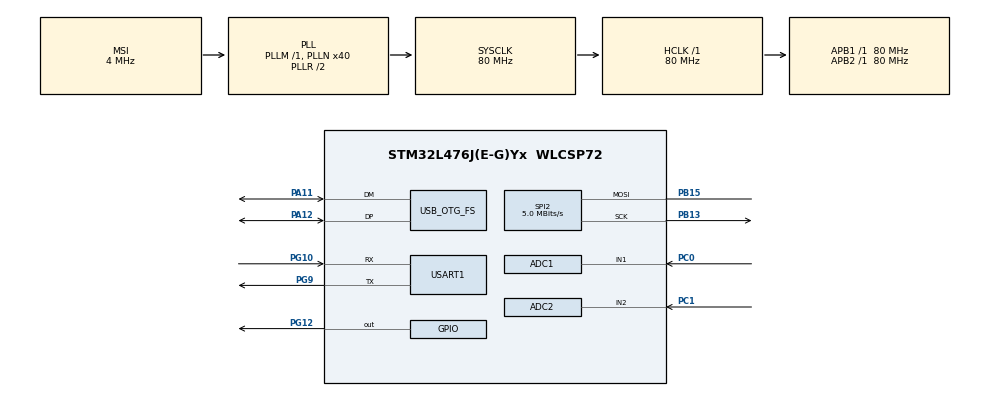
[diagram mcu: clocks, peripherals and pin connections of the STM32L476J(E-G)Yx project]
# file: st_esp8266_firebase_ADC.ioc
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ADC1.Channel-1\#ChannelRegularConversion=ADC_CHANNEL_1
ADC1.NbrOfConversionFlag=1
ADC1.OffsetNumber-1\#ChannelRegularConversion=ADC_OFFSET_NONE
ADC1.Rank-1\#ChannelRegularConversion=1
ADC1.SamplingTime-1\#ChannelRegularConversion=ADC_SAMPLETIME_2CYCLES_5
ADC1.master=1
ADC2.Channel-0\#ChannelRegularConversion=ADC_CHANNEL_2
ADC2.ContinuousConvMode=ENABLE
ADC2.DMAContinuousRequests=ENABLE
ADC2.EOCSelection=ADC_EOC_SEQ_CONV
ADC2.NbrOfConversionFlag=1
ADC2.OffsetNumber-0\#ChannelRegularConversion=ADC_OFFSET_NONE
ADC2.Rank-0\#ChannelRegularConversion=1
ADC2.SamplingTime-0\#ChannelRegularConversion=ADC_SAMPLETIME_2CYCLES_5
Dma.ADC2.0.Direction=DMA_PERIPH_TO_MEMORY
Dma.ADC2.0.Instance=DMA1_Channel2
Dma.ADC2.0.MemDataAlignment=DMA_MDATAALIGN_HALFWORD
Dma.ADC2.0.MemInc=DMA_MINC_ENABLE
Dma.ADC2.0.Mode=DMA_CIRCULAR
Dma.ADC2.0.PeriphDataAlignment=DMA_PDATAALIGN_HALFWORD
Dma.ADC2.0.PeriphInc=DMA_PINC_DISABLE
Dma.ADC2.0.Priority=DMA_PRIORITY_LOW
Dma.Request0=ADC2
Mcu.Family=STM32L4
Mcu.Name=STM32L476J(E-G)Yx
Mcu.Package=WLCSP72
NVIC.DMA1_Channel2_IRQn=true\:0\:0\:false\:false\:true\:false\:true
NVIC.OTG_FS_IRQn=true\:0\:0\:false\:false\:true\:false\:true
NVIC.PriorityGroup=NVIC_PRIORITYGROUP_4
NVIC.USART1_IRQn=true\:0\:0\:false\:false\:true\:true\:true
PA11.Mode=Device_Only
PA11.Signal=USB_OTG_FS_DM
PA12.Mode=Device_Only
PA12.Signal=USB_OTG_FS_DP
PB13.Mode=Simplex_Bidirectional_Master
PB13.Signal=SPI2_SCK
PB15.Mode=Simplex_Bidirectional_Master
PB15.Signal=SPI2_MOSI
PC0.Signal=ADCx_IN1
PC1.Signal=ADCx_IN2
PG10.Mode=Asynchronous
PG10.Signal=USART1_RX
PG12.Signal=GPIO_Output
PG9.Mode=Asynchronous
PG9.Signal=USART1_TX
PH0-OSC_IN\ (PH0).Mode=HSE-External-Oscillator
PH0-OSC_IN\ (PH0).Signal=RCC_OSC_IN
PH1-OSC_OUT\ (PH1).Mode=HSE-External-Oscillator
PH1-OSC_OUT\ (PH1).Signal=RCC_OSC_OUT
ProjectManager.HeapSize=0x200
ProjectManager.StackSize=0x400
ProjectManager.TargetToolchain=SW4STM32
RCC.ADCFreq_Value=48000000
RCC.AHBFreq_Value=80000000
RCC.APB1Freq_Value=80000000
RCC.APB1TimFreq_Value=80000000
RCC.APB2Freq_Value=80000000
RCC.APB2TimFreq_Value=80000000
RCC.CortexFreq_Value=80000000
RCC.HCLKFreq_Value=80000000
RCC.HSE_VALUE=8000000
RCC.HSI_VALUE=16000000
RCC.LSE_VALUE=32768
RCC.MSI_VALUE=4000000
RCC.PLLN=40
RCC.PLLSAI1N=24
RCC.SYSCLKFreq_VALUE=80000000
RCC.SYSCLKSource=RCC_SYSCLKSOURCE_PLLCLK
RCC.USBFreq_Value=48000000
RCC.VCOOutputFreq_Value=160000000
SH.ADCx_IN1.0=ADC1_IN1,IN1-Single-Ended
SH.ADCx_IN2.0=ADC2_IN2,IN2-Single-Ended
SPI2.BaudRatePrescaler=SPI_BAUDRATEPRESCALER_16
SPI2.CLKPhase=SPI_PHASE_2EDGE
SPI2.CLKPolarity=SPI_POLARITY_HIGH
SPI2.CalculateBaudRate=5.0 MBits/s
SPI2.DataSize=SPI_DATASIZE_8BIT
SPI2.Direction=SPI_DIRECTION_1LINE
SPI2.Mode=SPI_MODE_MASTER
SPI2.VirtualType=VM_MASTER
USART1.VirtualMode-Asynchronous=VM_ASYNC
USB_DEVICE.CLASS_NAME_FS=CDC
USB_DEVICE.VirtualMode=Cdc
USB_DEVICE.VirtualModeFS=Cdc_FS
USB_OTG_FS.VirtualMode=Device_Only
VP_USB_DEVICE_VS_USB_DEVICE_CDC_FS.Mode=CDC_FS
board=custom

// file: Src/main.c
/* USER CODE BEGIN Header */
/**
 ******************************************************************************
 * @file           : main.c
 * @brief          : Main program body
 ******************************************************************************
 * @attention
 *
 * <h2><center>&copy; Copyright (c) 2020 STMicroelectronics.
 * All rights reserved.</center></h2>
 *
 * This software component is licensed by ST under BSD 3-Clause license,
 * the "License"; You may not use this file except in compliance with the
 * License. You may obtain a copy of the License at:
 *                        opensource.org/licenses/BSD-3-Clause
 *
 ******************************************************************************
 */
/* USER CODE END Header */

#include "main.h"
#include "usb_device.h"

/* USER CODE BEGIN Includes */
#include "ESPDataLogger.h"
#include "usbd_cdc_if.h"
#include "LSM6DSM_ACC_GYRO_driver_HL.h"
#include "LSM6DSM_ACC_GYRO_driver.h"
#include "LSM303AGR_MAG_driver_HL.h"
#include "LSM303AGR_MAG_driver.h"
/* USER CODE END Includes */

ADC_HandleTypeDef hadc1;
ADC_HandleTypeDef hadc2;
DMA_HandleTypeDef hdma_adc2;

SPI_HandleTypeDef hspi2;

UART_HandleTypeDef huart1;

/* USER CODE BEGIN PV */
SPI_HandleTypeDef SPI_Sensor_Handle;

static DrvContextTypeDef ACCELERO_SensorHandle[2];
static ACCELERO_Data_t ACCELERO_Data[2]; // Accelerometer - all.
static void *LSM6DSM_X_0_handle = NULL;
static LSM6DSM_X_Data_t LSM6DSM_X_0_Data; // Accelerometer - sensor 0.

static DrvContextTypeDef GYRO_SensorHandle[1];
static GYRO_Data_t GYRO_Data[1]; // Gyroscope - all.
static LSM6DSM_G_Data_t LSM6DSM_G_0_Data; // Gyroscope - sensor 0.
static void *LSM6DSM_G_0_handle = NULL;

static DrvContextTypeDef MAGNETO_SensorHandle[ 1 ];
static MAGNETO_Data_t MAGNETO_Data[ 1 ]; // Magnetometer - all.
static LSM303AGR_M_Data_t LSM303AGR_M_0_Data; // Magnetometer - sensor 0.
static void *LSM303AGR_M_0_handle = NULL;

/* USER CODE END PV */

void SystemClock_Config(void);
static void MX_GPIO_Init(void);
static void MX_DMA_Init(void);
static void MX_ADC1_Init(void);
static void MX_USART1_UART_Init(void);
static void MX_ADC2_Init(void);
static void MX_SPI2_Init(void);

/* USER CODE BEGIN 0 */
uint16_t ADC_Get_Value(void);

uint32_t ADC_Value = 0;
uint8_t count = 0;

int32_t Value_Buf[11];
//int32_t t1;
/* USER CODE END 0 */

int main(void) {

	/* MCU Configuration--------------------------------------------------------*/

	/* Reset of all peripherals, Initializes the Flash interface and the Systick. */
	HAL_Init();

	/* Configure the system clock */
	SystemClock_Config();

	/* Initialize all configured peripherals */
	MX_GPIO_Init();
	MX_DMA_Init();
	MX_ADC1_Init();
	MX_USART1_UART_Init();
	MX_USB_DEVICE_Init();
	MX_ADC2_Init();
	MX_SPI2_Init();
	/* USER CODE BEGIN 2 */

	// Initialize sensors
	if (BSP_ACCELERO_Init(LSM6DSM_X_0, &LSM6DSM_X_0_handle) != COMPONENT_OK) {
		while (1)
			;
	}

	if (BSP_GYRO_Init(LSM6DSM_G_0, &LSM6DSM_G_0_handle) != COMPONENT_OK) {
		while (1)
			;
	}

	if (BSP_MAGNETO_Init(LSM303AGR_M_0, &LSM303AGR_M_0_handle) != COMPONENT_OK) {
			while (1)
				;
		}

	// Enable sensor
	BSP_ACCELERO_Sensor_Enable(LSM6DSM_X_0_handle);
	BSP_GYRO_Sensor_Enable(LSM6DSM_G_0_handle);
	BSP_MAGNETO_Sensor_Enable(LSM303AGR_M_0_handle);

	ESP_Init("FiOS-1NOZN", "6905straw8943hoot", "192.168.1.229");

	SensorAxes_t accel;
	SensorAxes_t gyro;
	SensorAxes_t mag;
	//uint32_t t2;
	//char time[100];
	char data[200];
	/* USER CODE END 2 */

	/* Infinite loop */
	while (1) {

		/* USER CODE BEGIN 3 */
		//t1 = HAL_GetTick();
		accel = Accelero_Sensor_Handler(LSM6DSM_X_0_handle);
		gyro = Gyro_Sensor_Handler(LSM6DSM_G_0_handle);
		mag = Magneto_Sensor_Handler(LSM303AGR_M_0_handle);
		ADC_Value = ADC_Get_Value();
//		Voltage = ((float) ADC_Value * 3.3 / 4095);
		count++;
		Value_Buf[0] = ADC_Value;
//		Value_Buf[1] = Voltage;
		Value_Buf[2] = (int32_t) accel.AXIS_X;
		Value_Buf[3] = (int32_t) accel.AXIS_Y;
		Value_Buf[4] = (int32_t) accel.AXIS_Z;
		Value_Buf[5] = (int32_t) gyro.AXIS_X;
		Value_Buf[6] = (int32_t) gyro.AXIS_Y;
		Value_Buf[7] = (int32_t) gyro.AXIS_Z;
		Value_Buf[8] = (int32_t) mag.AXIS_X;
		Value_Buf[9] = (int32_t) mag.AXIS_Y;
		Value_Buf[10] =	(int32_t) mag.AXIS_Z;
		ESP_Send_Multi(Value_Buf);
		HAL_GPIO_TogglePin(GPIOG, GPIO_PIN_12);

		//t2 = HAL_GetTick() - t1;
		//sprintf(time, "%d\r\n", t2);
		//Uart_debug_sendstring(time);

		sprintf(data, "EMG:%d\r\n", ADC_Value);
		Uart_debug_sendstring(data);
     // HAL_Delay(15000);
	}
	/* USER CODE END 3 */
}

void SystemClock_Config(void) {
	RCC_OscInitTypeDef RCC_OscInitStruct = { 0 };
	RCC_ClkInitTypeDef RCC_ClkInitStruct = { 0 };
	RCC_PeriphCLKInitTypeDef PeriphClkInit = { 0 };

	/** Initializes the CPU, AHB and APB busses clocks
	 */
	RCC_OscInitStruct.OscillatorType = RCC_OSCILLATORTYPE_MSI;
	RCC_OscInitStruct.MSIState = RCC_MSI_ON;
	RCC_OscInitStruct.MSICalibrationValue = 0;
	RCC_OscInitStruct.MSIClockRange = RCC_MSIRANGE_6;
	RCC_OscInitStruct.PLL.PLLState = RCC_PLL_ON;
	RCC_OscInitStruct.PLL.PLLSource = RCC_PLLSOURCE_MSI;
	RCC_OscInitStruct.PLL.PLLM = 1;
	RCC_OscInitStruct.PLL.PLLN = 40;
	RCC_OscInitStruct.PLL.PLLP = RCC_PLLP_DIV7;
	RCC_OscInitStruct.PLL.PLLQ = RCC_PLLQ_DIV2;
	RCC_OscInitStruct.PLL.PLLR = RCC_PLLR_DIV2;
	if (HAL_RCC_OscConfig(&RCC_OscInitStruct) != HAL_OK) {
		Error_Handler();
	}
	/** Initializes the CPU, AHB and APB busses clocks
	 */
	RCC_ClkInitStruct.ClockType = RCC_CLOCKTYPE_HCLK | RCC_CLOCKTYPE_SYSCLK
			| RCC_CLOCKTYPE_PCLK1 | RCC_CLOCKTYPE_PCLK2;
	RCC_ClkInitStruct.SYSCLKSource = RCC_SYSCLKSOURCE_PLLCLK;
	RCC_ClkInitStruct.AHBCLKDivider = RCC_SYSCLK_DIV1;
	RCC_ClkInitStruct.APB1CLKDivider = RCC_HCLK_DIV1;
	RCC_ClkInitStruct.APB2CLKDivider = RCC_HCLK_DIV1;

	if (HAL_RCC_ClockConfig(&RCC_ClkInitStruct, FLASH_LATENCY_4) != HAL_OK) {
		Error_Handler();
	}
	PeriphClkInit.PeriphClockSelection = RCC_PERIPHCLK_USART1
			| RCC_PERIPHCLK_USB | RCC_PERIPHCLK_ADC;
	PeriphClkInit.Usart1ClockSelection = RCC_USART1CLKSOURCE_PCLK2;
	PeriphClkInit.AdcClockSelection = RCC_ADCCLKSOURCE_PLLSAI1;
	PeriphClkInit.UsbClockSelection = RCC_USBCLKSOURCE_PLLSAI1;
	PeriphClkInit.PLLSAI1.PLLSAI1Source = RCC_PLLSOURCE_MSI;
	PeriphClkInit.PLLSAI1.PLLSAI1M = 1;
	PeriphClkInit.PLLSAI1.PLLSAI1N = 24;
	PeriphClkInit.PLLSAI1.PLLSAI1P = RCC_PLLP_DIV7;
	PeriphClkInit.PLLSAI1.PLLSAI1Q = RCC_PLLQ_DIV2;
	PeriphClkInit.PLLSAI1.PLLSAI1R = RCC_PLLR_DIV2;
	PeriphClkInit.PLLSAI1.PLLSAI1ClockOut = RCC_PLLSAI1_48M2CLK
			| RCC_PLLSAI1_ADC1CLK;
	if (HAL_RCCEx_PeriphCLKConfig(&PeriphClkInit) != HAL_OK) {
		Error_Handler();
	}
	/** Configure the main internal regulator output voltage
	 */
	if (HAL_PWREx_ControlVoltageScaling(PWR_REGULATOR_VOLTAGE_SCALE1)
			!= HAL_OK) {
		Error_Handler();
	}
}

static void MX_ADC1_Init(void) {

	ADC_MultiModeTypeDef multimode = { 0 };
	ADC_ChannelConfTypeDef sConfig = { 0 };

	/** Common config
	 */
	hadc1.Instance = ADC1;
	hadc1.Init.ClockPrescaler = ADC_CLOCK_ASYNC_DIV1;
	hadc1.Init.Resolution = ADC_RESOLUTION_12B;
	hadc1.Init.DataAlign = ADC_DATAALIGN_RIGHT;
	hadc1.Init.ScanConvMode = ADC_SCAN_DISABLE;
	hadc1.Init.EOCSelection = ADC_EOC_SINGLE_CONV;
	hadc1.Init.LowPowerAutoWait = DISABLE;
	hadc1.Init.ContinuousConvMode = DISABLE;
	hadc1.Init.NbrOfConversion = 1;
	hadc1.Init.DiscontinuousConvMode = DISABLE;
	hadc1.Init.NbrOfDiscConversion = 1;
	hadc1.Init.ExternalTrigConv = ADC_SOFTWARE_START;
	hadc1.Init.ExternalTrigConvEdge = ADC_EXTERNALTRIGCONVEDGE_NONE;
	hadc1.Init.DMAContinuousRequests = DISABLE;
	hadc1.Init.Overrun = ADC_OVR_DATA_PRESERVED;
	hadc1.Init.OversamplingMode = DISABLE;
	if (HAL_ADC_Init(&hadc1) != HAL_OK) {
		Error_Handler();
	}
	/** Configure the ADC multi-mode
	 */
	multimode.Mode = ADC_MODE_INDEPENDENT;
	if (HAL_ADCEx_MultiModeConfigChannel(&hadc1, &multimode) != HAL_OK) {
		Error_Handler();
	}
	/** Configure Regular Channel
	 */
	sConfig.Channel = ADC_CHANNEL_1;
	sConfig.Rank = ADC_REGULAR_RANK_1;
	sConfig.SamplingTime = ADC_SAMPLETIME_2CYCLES_5;
	sConfig.SingleDiff = ADC_SINGLE_ENDED;
	sConfig.OffsetNumber = ADC_OFFSET_NONE;
	sConfig.Offset = 0;
	if (HAL_ADC_ConfigChannel(&hadc1, &sConfig) != HAL_OK) {
		Error_Handler();
	}

}

static void MX_ADC2_Init(void) {

	ADC_ChannelConfTypeDef sConfig = { 0 };

	/** Common config
	 */
	hadc2.Instance = ADC2;
	hadc2.Init.ClockPrescaler = ADC_CLOCK_ASYNC_DIV1;
	hadc2.Init.Resolution = ADC_RESOLUTION_12B;
	hadc2.Init.DataAlign = ADC_DATAALIGN_RIGHT;
	hadc2.Init.ScanConvMode = ADC_SCAN_DISABLE;
	hadc2.Init.EOCSelection = ADC_EOC_SEQ_CONV;
	hadc2.Init.LowPowerAutoWait = DISABLE;
	hadc2.Init.ContinuousConvMode = ENABLE;
	hadc2.Init.NbrOfConversion = 1;
	hadc2.Init.DiscontinuousConvMode = DISABLE;
	hadc2.Init.NbrOfDiscConversion = 1;
	hadc2.Init.ExternalTrigConv = ADC_SOFTWARE_START;
	hadc2.Init.ExternalTrigConvEdge = ADC_EXTERNALTRIGCONVEDGE_NONE;
	hadc2.Init.DMAContinuousRequests = ENABLE;
	hadc2.Init.Overrun = ADC_OVR_DATA_PRESERVED;
	hadc2.Init.OversamplingMode = DISABLE;
	if (HAL_ADC_Init(&hadc2) != HAL_OK) {
		Error_Handler();
	}
	/** Configure Regular Channel
	 */
	sConfig.Channel = ADC_CHANNEL_2;
	sConfig.Rank = ADC_REGULAR_RANK_1;
	sConfig.SamplingTime = ADC_SAMPLETIME_2CYCLES_5;
	sConfig.SingleDiff = ADC_SINGLE_ENDED;
	sConfig.OffsetNumber = ADC_OFFSET_NONE;
	sConfig.Offset = 0;
	if (HAL_ADC_ConfigChannel(&hadc2, &sConfig) != HAL_OK) {
		Error_Handler();
	}

}

static void MX_SPI2_Init(void) {

	/* SPI2 parameter configuration*/
	hspi2.Instance = SPI2;
	hspi2.Init.Mode = SPI_MODE_MASTER;
	hspi2.Init.Direction = SPI_DIRECTION_1LINE;
	hspi2.Init.DataSize = SPI_DATASIZE_8BIT;
	hspi2.Init.CLKPolarity = SPI_POLARITY_HIGH;
	hspi2.Init.CLKPhase = SPI_PHASE_2EDGE;
	hspi2.Init.NSS = SPI_NSS_SOFT;
	hspi2.Init.BaudRatePrescaler = SPI_BAUDRATEPRESCALER_16;
	hspi2.Init.FirstBit = SPI_FIRSTBIT_MSB;
	hspi2.Init.TIMode = SPI_TIMODE_DISABLE;
	hspi2.Init.CRCCalculation = SPI_CRCCALCULATION_DISABLE;
	hspi2.Init.CRCPolynomial = 7;
	hspi2.Init.CRCLength = SPI_CRC_LENGTH_DATASIZE;
	hspi2.Init.NSSPMode = SPI_NSS_PULSE_DISABLE;
	if (HAL_SPI_Init(&hspi2) != HAL_OK) {
		Error_Handler();
	}

}

static void MX_USART1_UART_Init(void) {

	huart1.Instance = USART1;
	huart1.Init.BaudRate = 115200;
	huart1.Init.WordLength = UART_WORDLENGTH_8B;
	huart1.Init.StopBits = UART_STOPBITS_1;
	huart1.Init.Parity = UART_PARITY_NONE;
	huart1.Init.Mode = UART_MODE_TX_RX;
	huart1.Init.HwFlowCtl = UART_HWCONTROL_NONE;
	huart1.Init.OverSampling = UART_OVERSAMPLING_16;
	huart1.Init.OneBitSampling = UART_ONE_BIT_SAMPLE_DISABLE;
	huart1.AdvancedInit.AdvFeatureInit = UART_ADVFEATURE_NO_INIT;
	if (HAL_UART_Init(&huart1) != HAL_OK) {
		Error_Handler();
	}

}

static void MX_DMA_Init(void) {

	/* DMA controller clock enable */
	__HAL_RCC_DMA1_CLK_ENABLE()
	;

	/* DMA interrupt init */
	/* DMA1_Channel2_IRQn interrupt configuration */
	HAL_NVIC_SetPriority(DMA1_Channel2_IRQn, 0, 0);
	HAL_NVIC_EnableIRQ(DMA1_Channel2_IRQn);

}

static void MX_GPIO_Init(void) {
	GPIO_InitTypeDef GPIO_InitStruct = { 0 };

	/* GPIO Ports Clock Enable */
	__HAL_RCC_GPIOG_CLK_ENABLE()
	;
	HAL_PWREx_EnableVddIO2();
	__HAL_RCC_GPIOA_CLK_ENABLE()
	;
	__HAL_RCC_GPIOH_CLK_ENABLE()
	;
	__HAL_RCC_GPIOC_CLK_ENABLE()
	;
	__HAL_RCC_GPIOB_CLK_ENABLE()
	;

	/*Configure GPIO pin Output Level */
	HAL_GPIO_WritePin(GPIOG, GPIO_PIN_12, GPIO_PIN_RESET);

	/*Configure GPIO pin : PG12 */
	GPIO_InitStruct.Pin = GPIO_PIN_12;
	GPIO_InitStruct.Mode = GPIO_MODE_OUTPUT_PP;
	GPIO_InitStruct.Pull = GPIO_NOPULL;
	GPIO_InitStruct.Speed = GPIO_SPEED_FREQ_LOW;
	HAL_GPIO_Init(GPIOG, &GPIO_InitStruct);

}

/* USER CODE BEGIN 4 */
uint16_t ADC_Get_Value(void) {
	uint16_t val = 0;
	HAL_ADC_Start(&hadc2);
	HAL_ADC_PollForConversion(&hadc2, 100);
	val = HAL_ADC_GetValue(&hadc2);
	HAL_ADC_Stop(&hadc2);
	return val;
}

/**
 * @brief Initialize an accelerometer sensor
 * @param id the accelerometer sensor identifier
 * @param handle the device handle
 * @retval COMPONENT_OK in case of success
 * @retval COMPONENT_ERROR in case of failure
 */
DrvStatusTypeDef BSP_ACCELERO_Init(ACCELERO_ID_t id, void **handle) {

	*handle = NULL;

	switch ((int) id) {
	case LSM6DSM_X_0: {
		if (BSP_LSM6DSM_ACCELERO_Init(handle) == COMPONENT_ERROR) {
			return COMPONENT_ERROR;
		}
		break;
	}
	}

	return COMPONENT_OK;
}

/**
 * @brief Initialize a gyroscope sensor
 * @param id the gyroscope sensor identifier
 * @param handle the device handle
 * @retval COMPONENT_OK in case of success
 * @retval COMPONENT_ERROR in case of failure
 */
DrvStatusTypeDef BSP_GYRO_Init(GYRO_ID_t id, void **handle) {

	*handle = NULL;

	switch ((int) id) {
	case LSM6DSM_G_0: {
		if (BSP_LSM6DSM_GYRO_Init(handle) == COMPONENT_ERROR) {
			return COMPONENT_ERROR;
		}
		break;
	}
	}

	return COMPONENT_OK;
}

/**
 * @brief Initialize a magnetometer sensor
 * @param id the magnetometer sensor identifier
 * @param handle the device handle
 * @retval COMPONENT_OK in case of success
 * @retval COMPONENT_ERROR in case of failure
 */
DrvStatusTypeDef BSP_MAGNETO_Init( MAGNETO_ID_t id, void **handle )
{

  *handle = NULL;

  switch((int)id)
  {
    case LSM303AGR_M_0:
    {
      if( BSP_LSM303AGR_MAGNETO_Init(handle)  == COMPONENT_ERROR )
      {
        return COMPONENT_ERROR;
      }
      break;
    }
  }

  return COMPONENT_OK;
}

DrvStatusTypeDef BSP_LSM6DSM_ACCELERO_Init(void **handle) {
	ACCELERO_Drv_t *driver = NULL;
	uint8_t data = 0x0C;

	if (ACCELERO_SensorHandle[LSM6DSM_X_0].isInitialized == 1) {
		/* We have reached the max num of instance for this component */
		return COMPONENT_ERROR;
	}

	if (Sensor_IO_SPI_Init() == COMPONENT_ERROR) {
		return COMPONENT_ERROR;
	}

	/* Setup sensor handle. */
	ACCELERO_SensorHandle[LSM6DSM_X_0].who_am_i = LSM6DSM_ACC_GYRO_WHO_AM_I;
	ACCELERO_SensorHandle[LSM6DSM_X_0].ifType = 1; // SPI interface
	ACCELERO_SensorHandle[LSM6DSM_X_0].address =
	LSM6DSM_ACC_GYRO_I2C_ADDRESS_HIGH;
	ACCELERO_SensorHandle[LSM6DSM_X_0].spiDevice = LSM6DSM;
	ACCELERO_SensorHandle[LSM6DSM_X_0].instance = LSM6DSM_X_0;
	ACCELERO_SensorHandle[LSM6DSM_X_0].isInitialized = 0;
	ACCELERO_SensorHandle[LSM6DSM_X_0].isEnabled = 0;
	ACCELERO_SensorHandle[LSM6DSM_X_0].isCombo = 1;
	ACCELERO_SensorHandle[LSM6DSM_X_0].pData =
			(void *) &ACCELERO_Data[LSM6DSM_X_0];
	ACCELERO_SensorHandle[LSM6DSM_X_0].pVTable = (void *) &LSM6DSM_X_Drv;
	ACCELERO_SensorHandle[LSM6DSM_X_0].pExtVTable = (void *) &LSM6DSM_X_ExtDrv;

	LSM6DSM_X_0_Data.comboData = &LSM6DSM_Combo_Data[0];
	ACCELERO_Data[LSM6DSM_X_0].pComponentData = (void *) &LSM6DSM_X_0_Data;
	ACCELERO_Data[LSM6DSM_X_0].pExtData = 0;

	*handle = (void *) &ACCELERO_SensorHandle[LSM6DSM_X_0];

	Sensor_IO_SPI_CS_Init(*handle);

	if (LSM6DSM_Combo_Data[0].isGyroInitialized == 0) {
		// SPI Serial Interface Mode selection --> 3Wires
		if (Sensor_IO_Write(*handle, LSM6DSM_ACC_GYRO_CTRL3_C, &data, 1)) {
			return COMPONENT_ERROR;
		}
	}

	driver = (ACCELERO_Drv_t *) ((DrvContextTypeDef *) (*handle))->pVTable;

	if (driver->Init == NULL) {
		memset((*handle), 0, sizeof(DrvContextTypeDef));
		*handle = NULL;
		return COMPONENT_ERROR;
	}

	if (driver->Init((DrvContextTypeDef *) (*handle)) == COMPONENT_ERROR) {
		memset((*handle), 0, sizeof(DrvContextTypeDef));
		*handle = NULL;
		return COMPONENT_ERROR;
	}

	/* Disable I2C interface */
	if (LSM6DSM_ACC_GYRO_W_I2C_DISABLE(*handle,
			LSM6DSM_ACC_GYRO_I2C_DISABLE_SPI_ONLY) == MEMS_ERROR) {
		return COMPONENT_ERROR;
	}

	/* Configure interrupt lines for LSM6DSM */
//	LSM6DSM_Sensor_IO_ITConfig();
	return COMPONENT_OK;
}

DrvStatusTypeDef BSP_LSM6DSM_GYRO_Init(void **handle) {
	GYRO_Drv_t *driver = NULL;
	uint8_t data = 0x0C;

	if (GYRO_SensorHandle[LSM6DSM_G_0].isInitialized == 1) {
		/* We have reached the max num of instance for this component */
		return COMPONENT_ERROR;
	}

	if (Sensor_IO_SPI_Init() == COMPONENT_ERROR) {
		return COMPONENT_ERROR;
	}

	/* Setup sensor handle. */
	/* Gyroscope - sensor 0 */
	GYRO_SensorHandle[LSM6DSM_G_0].who_am_i = LSM6DSM_ACC_GYRO_WHO_AM_I;
	GYRO_SensorHandle[LSM6DSM_G_0].ifType = 1; // SPI interface
	GYRO_SensorHandle[LSM6DSM_G_0].address = LSM6DSM_ACC_GYRO_I2C_ADDRESS_HIGH;
	GYRO_SensorHandle[LSM6DSM_G_0].spiDevice = LSM6DSM;
	GYRO_SensorHandle[LSM6DSM_G_0].instance = LSM6DSM_G_0;
	GYRO_SensorHandle[LSM6DSM_G_0].isInitialized = 0;
	GYRO_SensorHandle[LSM6DSM_G_0].isEnabled = 0;
	GYRO_SensorHandle[LSM6DSM_G_0].isCombo = 1;
	GYRO_SensorHandle[LSM6DSM_G_0].pData = (void *) &GYRO_Data[LSM6DSM_G_0];
	GYRO_SensorHandle[LSM6DSM_G_0].pVTable = (void *) &LSM6DSM_G_Drv;
	GYRO_SensorHandle[LSM6DSM_G_0].pExtVTable = 0;

	LSM6DSM_G_0_Data.comboData = &LSM6DSM_Combo_Data[0];
	GYRO_Data[LSM6DSM_G_0].pComponentData = (void *) &LSM6DSM_G_0_Data;
	GYRO_Data[LSM6DSM_G_0].pExtData = 0;

	*handle = (void *) &GYRO_SensorHandle[LSM6DSM_G_0];

	Sensor_IO_SPI_CS_Init(*handle);

	if (LSM6DSM_Combo_Data[0].isAccInitialized == 0) {
		// SPI Serial Interface Mode selection --> 3Wires
		if (Sensor_IO_Write(*handle, LSM6DSM_ACC_GYRO_CTRL3_C, &data, 1)) {
			return COMPONENT_ERROR;
		}
	}

	driver = (GYRO_Drv_t *) ((DrvContextTypeDef *) (*handle))->pVTable;

	if (driver->Init == NULL) {
		memset((*handle), 0, sizeof(DrvContextTypeDef));
		*handle = NULL;
		return COMPONENT_ERROR;
	}

	if (driver->Init((DrvContextTypeDef *) (*handle)) == COMPONENT_ERROR) {
		memset((*handle), 0, sizeof(DrvContextTypeDef));
		*handle = NULL;
		return COMPONENT_ERROR;
	}

	/* Disable I2C interface */
	if (LSM6DSM_ACC_GYRO_W_I2C_DISABLE(*handle,
			LSM6DSM_ACC_GYRO_I2C_DISABLE_SPI_ONLY) == MEMS_ERROR) {
		return COMPONENT_ERROR;
	}

	return COMPONENT_OK;
}

DrvStatusTypeDef BSP_LSM303AGR_MAGNETO_Init( void **handle )
{
  MAGNETO_Drv_t *driver = NULL;
  uint8_t data = 0x01;

  if(MAGNETO_SensorHandle[ LSM303AGR_M_0 ].isInitialized == 1)
  {
    /* We have reached the max num of instance for this component */
    return COMPONENT_ERROR;
  }

  if ( Sensor_IO_SPI_Init() == COMPONENT_ERROR )
  {
    return COMPONENT_ERROR;
  }

  /* Setup sensor handle. */
  MAGNETO_SensorHandle[ LSM303AGR_M_0 ].who_am_i      = LSM303AGR_MAG_WHO_AM_I;
  MAGNETO_SensorHandle[ LSM303AGR_M_0 ].ifType        = 1; // SPI interface
  MAGNETO_SensorHandle[ LSM303AGR_M_0 ].address       = LSM303AGR_MAG_I2C_ADDRESS;
  MAGNETO_SensorHandle[ LSM303AGR_M_0 ].spiDevice     = LSM303AGR_M;
  MAGNETO_SensorHandle[ LSM303AGR_M_0 ].instance      = LSM303AGR_M_0;
  MAGNETO_SensorHandle[ LSM303AGR_M_0 ].isInitialized = 0;
  MAGNETO_SensorHandle[ LSM303AGR_M_0 ].isEnabled     = 0;
  MAGNETO_SensorHandle[ LSM303AGR_M_0 ].isCombo       = 0;
  MAGNETO_SensorHandle[ LSM303AGR_M_0 ].pData         = ( void * )&MAGNETO_Data[ LSM303AGR_M_0 ];
  MAGNETO_SensorHandle[ LSM303AGR_M_0 ].pVTable       = ( void * )&LSM303AGR_M_Drv;
  MAGNETO_SensorHandle[ LSM303AGR_M_0 ].pExtVTable    = 0;

//  LSM303AGR_M_0_Data.comboData = &LSM303AGR_Combo_Data[0];
  MAGNETO_Data[ LSM303AGR_M_0 ].pComponentData = ( void * )&LSM303AGR_M_0_Data;
  MAGNETO_Data[ LSM303AGR_M_0 ].pExtData       = 0;

  *handle = (void *)&MAGNETO_SensorHandle[ LSM303AGR_M_0 ];

  Sensor_IO_SPI_CS_Init(*handle);

 /* if(LSM303AGR_Combo_Data[0].isAccInitialized == 0)
  {
    // SPI Serial Interface Mode selection --> 3Wires
    if( Sensor_IO_Write(*handle, 0X23, &data, 1) )
    {
      return COMPONENT_ERROR;
    }
  }
*/
  driver = ( MAGNETO_Drv_t * )((DrvContextTypeDef *)(*handle))->pVTable;

  if ( driver->Init == NULL )
  {
    memset((*handle), 0, sizeof(DrvContextTypeDef));
    *handle = NULL;
    return COMPONENT_ERROR;
  }

  if ( driver->Init( (DrvContextTypeDef *)(*handle) ) == COMPONENT_ERROR )
  {
    memset((*handle), 0, sizeof(DrvContextTypeDef));
    *handle = NULL;
    return COMPONENT_ERROR;
  }

  /* Disable I2C interface */
  if ( LSM303AGR_MAG_W_I2C_DIS( *handle, LSM303AGR_MAG_I2C_DISABLED ) == MEMS_ERROR )
  {
    return COMPONENT_ERROR;
  }

  return COMPONENT_OK;
}

uint8_t Sensor_IO_SPI_CS_Enable(void *handle) {
	DrvContextTypeDef *ctx = (DrvContextTypeDef *) handle;

	switch (ctx->spiDevice) {
	case LSM6DSM:
		HAL_GPIO_WritePin(SENSORTILE_LSM6DSM_SPI_CS_Port,
		SENSORTILE_LSM6DSM_SPI_CS_Pin, GPIO_PIN_RESET);
		break;
	case LSM303AGR_M:
	    HAL_GPIO_WritePin(SENSORTILE_LSM303AGR_M_SPI_CS_Port, SENSORTILE_LSM303AGR_M_SPI_CS_Pin, GPIO_PIN_RESET);
	    break;
	}
	return COMPONENT_OK;
}
uint8_t Sensor_IO_SPI_CS_Disable(void *handle) {
	DrvContextTypeDef *ctx = (DrvContextTypeDef *) handle;

	switch (ctx->spiDevice) {
	case LSM6DSM:
		HAL_GPIO_WritePin(SENSORTILE_LSM6DSM_SPI_CS_Port,
		SENSORTILE_LSM6DSM_SPI_CS_Pin, GPIO_PIN_SET);
		break;
	case LSM303AGR_M:
	    HAL_GPIO_WritePin(SENSORTILE_LSM303AGR_M_SPI_CS_Port, SENSORTILE_LSM303AGR_M_SPI_CS_Pin, GPIO_PIN_SET);
	    break;
	}
	return COMPONENT_OK;
}
uint8_t Sensor_IO_SPI_CS_Init(void *handle) {
	GPIO_InitTypeDef GPIO_InitStruct;
	DrvContextTypeDef *ctx = (DrvContextTypeDef *) handle;

	GPIO_InitStruct.Speed = GPIO_SPEED_HIGH;
	GPIO_InitStruct.Pull = GPIO_NOPULL;
	GPIO_InitStruct.Mode = GPIO_MODE_OUTPUT_PP;

	switch (ctx->spiDevice) {
	case LSM6DSM:
		SENSORTILE_LSM6DSM_SPI_CS_GPIO_CLK_ENABLE()
		;
		GPIO_InitStruct.Pin = SENSORTILE_LSM6DSM_SPI_CS_Pin;
		/* Set the pin before init to avoid glitch */
		HAL_GPIO_WritePin(SENSORTILE_LSM6DSM_SPI_CS_Port,
		SENSORTILE_LSM6DSM_SPI_CS_Pin, GPIO_PIN_SET);
		HAL_GPIO_Init(SENSORTILE_LSM6DSM_SPI_CS_Port, &GPIO_InitStruct);
		break;
	case LSM303AGR_M:
	    SENSORTILE_LSM303AGR_M_SPI_CS_GPIO_CLK_ENABLE();
	    GPIO_InitStruct.Pin = SENSORTILE_LSM303AGR_M_SPI_CS_Pin;
	    /* Set the pin before init to avoid glitch */
	    HAL_GPIO_WritePin(SENSORTILE_LSM303AGR_M_SPI_CS_Port, SENSORTILE_LSM303AGR_M_SPI_CS_Pin, GPIO_PIN_SET);
	    HAL_GPIO_Init(SENSORTILE_LSM303AGR_M_SPI_CS_Port, &GPIO_InitStruct);
	    break;

	default:
		return COMPONENT_NOT_IMPLEMENTED;
	}
	return COMPONENT_OK;
}

/**
 * @brief Enable accelerometer sensor
 * @param handle the device handle
 * @retval COMPONENT_OK in case of success
 * @retval COMPONENT_ERROR in case of failure
 */
DrvStatusTypeDef BSP_ACCELERO_Sensor_Enable(void *handle) {

	DrvContextTypeDef *ctx = (DrvContextTypeDef *) handle;
	ACCELERO_Drv_t *driver = NULL;

	if (ctx == NULL) {
		return COMPONENT_ERROR;
	}

	driver = (ACCELERO_Drv_t *) ctx->pVTable;

	if (driver->Sensor_Enable == NULL) {
		return COMPONENT_ERROR;
	}

	if (driver->Sensor_Enable(ctx) == COMPONENT_ERROR) {
		return COMPONENT_ERROR;
	}

	return COMPONENT_OK;
}

/**
 * @brief Enable gyroscope sensor
 * @param handle the device handle
 * @retval COMPONENT_OK in case of success
 * @retval COMPONENT_ERROR in case of failure
 */
DrvStatusTypeDef BSP_GYRO_Sensor_Enable(void *handle) {

	DrvContextTypeDef *ctx = (DrvContextTypeDef *) handle;
	GYRO_Drv_t *driver = NULL;

	if (ctx == NULL) {
		return COMPONENT_ERROR;
	}

	driver = (GYRO_Drv_t *) ctx->pVTable;

	if (driver->Sensor_Enable == NULL) {
		return COMPONENT_ERROR;
	}

	if (driver->Sensor_Enable(ctx) == COMPONENT_ERROR) {
		return COMPONENT_ERROR;
	}

	return COMPONENT_OK;
}

/**
 * @brief Enable magnetometer sensor
 * @param handle the device handle
 * @retval COMPONENT_OK in case of success
 * @retval COMPONENT_ERROR in case of failure
 */
DrvStatusTypeDef BSP_MAGNETO_Sensor_Enable( void *handle )
{

  DrvContextTypeDef *ctx = (DrvContextTypeDef *)handle;
  MAGNETO_Drv_t *driver = NULL;

  if(ctx == NULL)
  {
    return COMPONENT_ERROR;
  }

  driver = ( MAGNETO_Drv_t * )ctx->pVTable;

  if ( driver->Sensor_Enable == NULL )
  {
    return COMPONENT_ERROR;
  }

  if ( driver->Sensor_Enable( ctx ) == COMPONENT_ERROR )
  {
    return COMPONENT_ERROR;
  }

  return COMPONENT_OK;
}

/**
 * @brief  Handles the accelerometer axes data getting/sending
 * @param  handle the device handle
 * @retval None
 */
SensorAxes_t Accelero_Sensor_Handler(void *handle) {
	char dataOut[256];
//	uint8_t who_am_i;
//	float odr;
//	float fullScale;
	uint8_t id;
	SensorAxes_t acceleration;
	uint8_t status;
//	int32_t d1, d2;

	BSP_ACCELERO_Get_Instance(handle, &id);

	BSP_ACCELERO_IsInitialized(handle, &status);

	if (status == 1) {
		if (BSP_ACCELERO_Get_Axes(handle, &acceleration) == COMPONENT_ERROR) {
			acceleration.AXIS_X = 0;
			acceleration.AXIS_Y = 0;
			acceleration.AXIS_Z = 0;
		}
		/*sprintf(dataOut, "accel: %d, %d, %d\r\n", (int) acceleration.AXIS_X,
				(int) acceleration.AXIS_Y, (int) acceleration.AXIS_Z);
		CDC_Transmit_FS((uint8_t*) dataOut, strlen(dataOut));*/
	}
	return acceleration;
}

/**
 * @brief  Handles the gyroscope axes data getting/sending
 * @param  handle the device handle
 * @retval None
 */
SensorAxes_t Gyro_Sensor_Handler(void *handle) {
	char dataOut[256];
	//uint8_t who_am_i;
	//float odr;
	//float fullScale;
	uint8_t id;
	SensorAxes_t angular_velocity;
	uint8_t status;
	//int32_t d1, d2;

	BSP_GYRO_Get_Instance(handle, &id);

	BSP_GYRO_IsInitialized(handle, &status);

	if (status == 1) {
		if (BSP_GYRO_Get_Axes(handle, &angular_velocity) == COMPONENT_ERROR) {
			angular_velocity.AXIS_X = 0;
			angular_velocity.AXIS_Y = 0;
			angular_velocity.AXIS_Z = 0;
		}
		/*sprintf(dataOut, "gyro: %d, %d, %d\r\n", (int) angular_velocity.AXIS_X,
				(int) angular_velocity.AXIS_Y, (int) angular_velocity.AXIS_Z);
		CDC_Transmit_FS((uint8_t*) dataOut, strlen(dataOut));*/
	}
	return angular_velocity;
}

/**
* @brief  Handles the magneto axes data getting/sending
* @param  handle the device handle
* @retval None
*/
SensorAxes_t Magneto_Sensor_Handler( void *handle )
{

	char dataOut[256];
	//uint8_t who_am_i;
	// float odr;
	//float fullScale;
	uint8_t id;
	SensorAxes_t magnetic_field;
	uint8_t status;
	//int32_t d1, d2;

  BSP_MAGNETO_Get_Instance( handle, &id );

  BSP_MAGNETO_IsInitialized( handle, &status );

  if ( status == 1 )
  {
    if ( BSP_MAGNETO_Get_Axes( handle, &magnetic_field ) == COMPONENT_ERROR )
    {
      magnetic_field.AXIS_X = 0;
      magnetic_field.AXIS_Y = 0;
      magnetic_field.AXIS_Z = 0;
    }
	/*sprintf(dataOut, "mag: %d, %d, %d\r\n", (int) magnetic_field.AXIS_X,
				(int) magnetic_field.AXIS_Y, (int) magnetic_field.AXIS_Z);
		CDC_Transmit_FS((uint8_t*) dataOut, strlen(dataOut));*/
  }
  return magnetic_field;
}

/**
 * @brief Get the accelerometer sensor instance
 * @param handle the device handle
 * @param instance the pointer to the device instance
 * @retval COMPONENT_OK in case of success
 * @retval COMPONENT_ERROR in case of failure
 */
DrvStatusTypeDef BSP_ACCELERO_Get_Instance(void *handle, uint8_t *instance) {
	DrvContextTypeDef *ctx = (DrvContextTypeDef *) handle;

	if (ctx == NULL) {
		return COMPONENT_ERROR;
	}

	if (instance == NULL) {
		return COMPONENT_ERROR;
	}

	*instance = ctx->instance;

	return COMPONENT_OK;
}

/**
 * @brief Get the gyroscope sensor instance
 * @param handle the device handle
 * @param instance the pointer to the device instance
 * @retval COMPONENT_OK in case of success
 * @retval COMPONENT_ERROR in case of failure
 */
DrvStatusTypeDef BSP_GYRO_Get_Instance(void *handle, uint8_t *instance) {
	DrvContextTypeDef *ctx = (DrvContextTypeDef *) handle;

	if (ctx == NULL) {
		return COMPONENT_ERROR;
	}

	if (instance == NULL) {
		return COMPONENT_ERROR;
	}

	*instance = ctx->instance;

	return COMPONENT_OK;
}

/**
 * @brief Get the magnetometer sensor instance
 * @param handle the device handle
 * @param instance the pointer to the device instance
 * @retval COMPONENT_OK in case of success
 * @retval COMPONENT_ERROR in case of failure
 */
DrvStatusTypeDef BSP_MAGNETO_Get_Instance( void *handle, uint8_t *instance )
{
  DrvContextTypeDef *ctx = (DrvContextTypeDef *)handle;

  if(ctx == NULL)
  {
    return COMPONENT_ERROR;
  }

  if ( instance == NULL )
  {
    return COMPONENT_ERROR;
  }

  *instance = ctx->instance;

  return COMPONENT_OK;
}

/**
 * @brief Check if the accelerometer sensor is initialized
 * @param handle the device handle
 * @param status the pointer to the initialization status
 * @retval COMPONENT_OK in case of success
 * @retval COMPONENT_ERROR in case of failure
 */
DrvStatusTypeDef BSP_ACCELERO_IsInitialized(void *handle, uint8_t *status) {
	DrvContextTypeDef *ctx = (DrvContextTypeDef *) handle;

	if (ctx == NULL) {
		return COMPONENT_ERROR;
	}

	if (status == NULL) {
		return COMPONENT_ERROR;
	}

	*status = ctx->isInitialized;

	return COMPONENT_OK;
}

/**
 * @brief Check if the gyroscope sensor is initialized
 * @param handle the device handle
 * @param status the pointer to the initialization status
 * @retval COMPONENT_OK in case of success
 * @retval COMPONENT_ERROR in case of failure
 */
DrvStatusTypeDef BSP_GYRO_IsInitialized(void *handle, uint8_t *status) {
	DrvContextTypeDef *ctx = (DrvContextTypeDef *) handle;

	if (ctx == NULL) {
		return COMPONENT_ERROR;
	}

	if (status == NULL) {
		return COMPONENT_ERROR;
	}

	*status = ctx->isInitialized;

	return COMPONENT_OK;
}

/**
 * @brief Check if the magnetometer sensor is initialized
 * @param handle the device handle
 * @param status the pointer to the initialization status
 * @retval COMPONENT_OK in case of success
 * @retval COMPONENT_ERROR in case of failure
 */
DrvStatusTypeDef BSP_MAGNETO_IsInitialized( void *handle, uint8_t *status )
{
  DrvContextTypeDef *ctx = (DrvContextTypeDef *)handle;

  if(ctx == NULL)
  {
    return COMPONENT_ERROR;
  }

  if ( status == NULL )
  {
    return COMPONENT_ERROR;
  }

  *status = ctx->isInitialized;

  return COMPONENT_OK;
}

/**
 * @brief Get the accelerometer sensor axes
 * @param handle the device handle
 * @param acceleration pointer where the values of the axes are written [mg]
 * @retval COMPONENT_OK in case of success
 * @retval COMPONENT_ERROR in case of failure
 */
DrvStatusTypeDef BSP_ACCELERO_Get_Axes(void *handle, SensorAxes_t *acceleration) {

	DrvContextTypeDef *ctx = (DrvContextTypeDef *) handle;
	ACCELERO_Drv_t *driver = NULL;

	if (ctx == NULL) {
		return COMPONENT_ERROR;
	}

	driver = (ACCELERO_Drv_t *) ctx->pVTable;

	if (acceleration == NULL) {
		return COMPONENT_ERROR;
	}

	if (driver->Get_Axes == NULL) {
		return COMPONENT_ERROR;
	}

	if (driver->Get_Axes(ctx, acceleration) == COMPONENT_ERROR) {
		return COMPONENT_ERROR;
	}

	return COMPONENT_OK;
}

/**
 * @brief Get the gyroscope sensor axes
 * @param handle the device handle
 * @param angular_velocity pointer where the values of the axes are written [mdps]
 * @retval COMPONENT_OK in case of success
 * @retval COMPONENT_ERROR in case of failure
 */
DrvStatusTypeDef BSP_GYRO_Get_Axes(void *handle, SensorAxes_t *angular_velocity) {

	DrvContextTypeDef *ctx = (DrvContextTypeDef *) handle;
	GYRO_Drv_t *driver = NULL;

	if (ctx == NULL) {
		return COMPONENT_ERROR;
	}

	driver = (GYRO_Drv_t *) ctx->pVTable;

	if (angular_velocity == NULL) {
		return COMPONENT_ERROR;
	}
	if (driver->Get_Axes == NULL) {
		return COMPONENT_ERROR;
	}
	if (driver->Get_Axes(ctx, angular_velocity) == COMPONENT_ERROR) {
		return COMPONENT_ERROR;
	}

	return COMPONENT_OK;
}

/**
 * @brief Get the magnetometer sensor axes
 * @param handle the device handle
 * @param magnetic_field pointer where the values of the axes are written [mgauss]
 * @retval COMPONENT_OK in case of success
 * @retval COMPONENT_ERROR in case of failure
 */
DrvStatusTypeDef BSP_MAGNETO_Get_Axes( void *handle, SensorAxes_t *magnetic_field )
{

  DrvContextTypeDef *ctx = (DrvContextTypeDef *)handle;
  MAGNETO_Drv_t *driver = NULL;

  if(ctx == NULL)
  {
    return COMPONENT_ERROR;
  }

  driver = ( MAGNETO_Drv_t * )ctx->pVTable;

  if ( magnetic_field == NULL )
  {
    return COMPONENT_ERROR;
  }
  if ( driver->Get_Axes == NULL )
  {
    return COMPONENT_ERROR;
  }
  if ( driver->Get_Axes( ctx, magnetic_field ) == COMPONENT_ERROR )
  {
    return COMPONENT_ERROR;
  }

  return COMPONENT_OK;
}

/**
 * @brief  Configures sensor SPI interface.
 * @param  None
 * @retval COMPONENT_OK in case of success
 * @retval COMPONENT_ERROR in case of failure
 */
DrvStatusTypeDef Sensor_IO_SPI_Init(void) {
	GPIO_InitTypeDef GPIO_InitStruct;

	if (HAL_SPI_GetState(&SPI_Sensor_Handle) == HAL_SPI_STATE_RESET) {
		SENSORTILE_SENSORS_SPI_CLK_ENABLE()
		;
		SENSORTILE_SENSORS_SPI_GPIO_CLK_ENABLE()
		;

		GPIO_InitStruct.Pin = SENSORTILE_SENSORS_SPI_MOSI_Pin;
		GPIO_InitStruct.Mode = GPIO_MODE_AF_PP;
		GPIO_InitStruct.Pull = GPIO_PULLUP;
		GPIO_InitStruct.Speed = GPIO_SPEED_HIGH;
		GPIO_InitStruct.Alternate = GPIO_AF5_SPI2;
		HAL_GPIO_Init(SENSORTILE_SENSORS_SPI_Port, &GPIO_InitStruct);

		GPIO_InitStruct.Pin = SENSORTILE_SENSORS_SPI_SCK_Pin;
		GPIO_InitStruct.Pull = GPIO_PULLUP;
		HAL_GPIO_Init(SENSORTILE_SENSORS_SPI_Port, &GPIO_InitStruct);

		SPI_Sensor_Handle.Instance = SENSORTILE_SENSORS_SPI;
		SPI_Sensor_Handle.Init.Mode = SPI_MODE_MASTER;
		SPI_Sensor_Handle.Init.Direction = SPI_DIRECTION_1LINE;
		SPI_Sensor_Handle.Init.DataSize = SPI_DATASIZE_8BIT;
		SPI_Sensor_Handle.Init.CLKPolarity = SPI_POLARITY_HIGH;
		SPI_Sensor_Handle.Init.CLKPhase = SPI_PHASE_2EDGE;
		SPI_Sensor_Handle.Init.NSS = SPI_NSS_SOFT;
		SPI_Sensor_Handle.Init.BaudRatePrescaler = SPI_BAUDRATEPRESCALER_16; // 5 MHz
//    SPI_Sensor_Handle.Init.BaudRatePrescaler = SPI_BAUDRATEPRESCALER_32; // 2.5MHz
		SPI_Sensor_Handle.Init.FirstBit = SPI_FIRSTBIT_MSB;
		SPI_Sensor_Handle.Init.TIMode = SPI_TIMODE_DISABLED;
		SPI_Sensor_Handle.Init.CRCCalculation = SPI_CRCCALCULATION_DISABLED;
		SPI_Sensor_Handle.Init.CRCPolynomial = 7;
		SPI_Sensor_Handle.Init.CRCLength = SPI_CRC_LENGTH_DATASIZE;
		SPI_Sensor_Handle.Init.NSSPMode = SPI_NSS_PULSE_DISABLED;
		HAL_SPI_Init(&SPI_Sensor_Handle);

		SPI_1LINE_TX(&SPI_Sensor_Handle);
		__HAL_SPI_ENABLE(&SPI_Sensor_Handle);
	}
	return COMPONENT_OK;
}
/* USER CODE END 4 */

void Error_Handler(void) {
}

/************************ (C) COPYRIGHT STMicroelectronics *****END OF FILE****/
